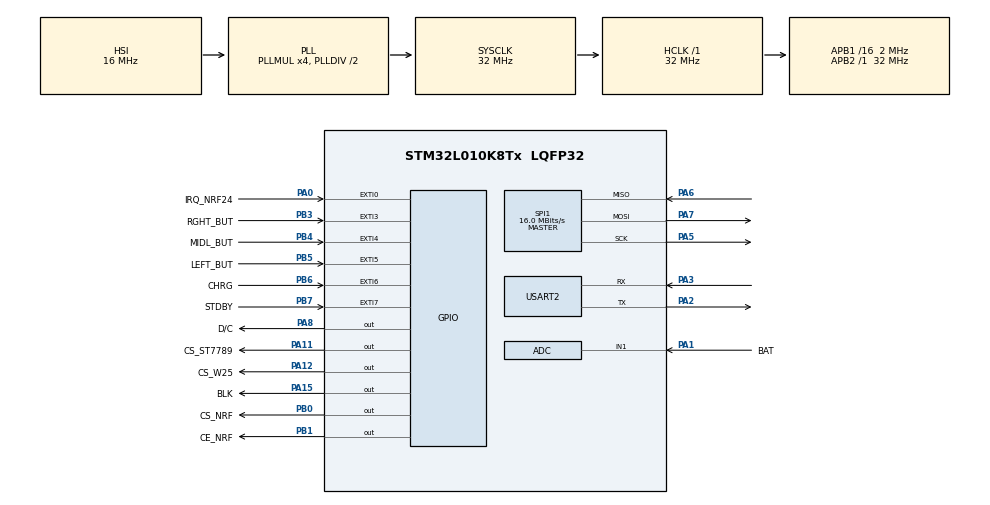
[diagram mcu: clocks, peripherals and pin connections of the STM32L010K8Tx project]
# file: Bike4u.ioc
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ADC.ContinuousConvMode=DISABLE
ADC.DMAContinuousRequests=ENABLE
ADC.EOCSelection=ADC_EOC_SINGLE_CONV
ADC.ExternalTrigConv=ADC_SOFTWARE_START
ADC.LowPowerAutoPowerOff=DISABLE
ADC.LowPowerAutoWait=DISABLE
ADC.OversamplingMode=ENABLE
ADC.Ratio=ADC_OVERSAMPLING_RATIO_16
ADC.RightBitShift=ADC_RIGHTBITSHIFT_4
ADC.SamplingTime=ADC_SAMPLETIME_160CYCLES_5
ADC.TriggeredMode=ADC_TRIGGEREDMODE_SINGLE_TRIGGER
Dma.ADC.1.Direction=DMA_PERIPH_TO_MEMORY
Dma.ADC.1.Instance=DMA1_Channel1
Dma.ADC.1.MemDataAlignment=DMA_MDATAALIGN_HALFWORD
Dma.ADC.1.MemInc=DMA_MINC_ENABLE
Dma.ADC.1.Mode=DMA_NORMAL
Dma.ADC.1.PeriphDataAlignment=DMA_PDATAALIGN_HALFWORD
Dma.ADC.1.PeriphInc=DMA_PINC_DISABLE
Dma.ADC.1.Priority=DMA_PRIORITY_MEDIUM
Dma.Request0=USART2_RX
Dma.Request1=ADC
Dma.USART2_RX.0.Direction=DMA_PERIPH_TO_MEMORY
Dma.USART2_RX.0.Instance=DMA1_Channel5
Dma.USART2_RX.0.MemDataAlignment=DMA_MDATAALIGN_BYTE
Dma.USART2_RX.0.MemInc=DMA_MINC_ENABLE
Dma.USART2_RX.0.Mode=DMA_CIRCULAR
Dma.USART2_RX.0.PeriphDataAlignment=DMA_PDATAALIGN_BYTE
Dma.USART2_RX.0.PeriphInc=DMA_PINC_DISABLE
Dma.USART2_RX.0.Priority=DMA_PRIORITY_LOW
Mcu.Family=STM32L0
Mcu.Name=STM32L010K8Tx
Mcu.Package=LQFP32
NVIC.ADC1_IRQn=true\:0\:0\:false\:false\:true\:true\:true\:true
NVIC.DMA1_Channel1_IRQn=true\:0\:0\:false\:false\:true\:false\:true\:true
NVIC.DMA1_Channel4_5_6_7_IRQn=true\:0\:0\:false\:false\:true\:false\:true\:true
NVIC.EXTI0_1_IRQn=true\:0\:0\:false\:false\:true\:true\:true\:true
NVIC.EXTI2_3_IRQn=true\:0\:0\:false\:false\:true\:true\:true\:true
NVIC.EXTI4_15_IRQn=true\:0\:0\:false\:false\:true\:true\:true\:true
NVIC.USART2_IRQn=true\:0\:0\:false\:false\:true\:true\:true\:true
PA0.GPIO_Label=IRQ_NRF24
PA0.GPIO_ModeDefaultEXTI=GPIO_MODE_IT_FALLING
PA0.Signal=GPXTI0
PA1.GPIO_Label=BAT
PA1.Mode=IN1
PA1.Signal=ADC_IN1
PA11.GPIO_Label=CS_ST7789
PA11.PinState=GPIO_PIN_SET
PA11.Signal=GPIO_Output
PA12.GPIO_Label=CS_W25
PA12.GPIO_PuPd=GPIO_NOPULL
PA12.PinState=GPIO_PIN_SET
PA12.Signal=GPIO_Output
PA13.Mode=Serial_Wire
PA13.Signal=SYS_SWDIO
PA14.Mode=Serial_Wire
PA14.Signal=SYS_SWCLK
PA15.GPIO_Label=BLK
PA15.GPIO_PuPd=GPIO_PULLDOWN
PA15.Signal=GPIO_Output
PA2.Mode=Asynchronous
PA2.Signal=USART2_TX
PA3.Mode=Asynchronous
PA3.Signal=USART2_RX
PA5.Mode=Full_Duplex_Master
PA5.Signal=SPI1_SCK
PA6.Mode=Full_Duplex_Master
PA6.Signal=SPI1_MISO
PA7.Mode=Full_Duplex_Master
PA7.Signal=SPI1_MOSI
PA8.GPIO_Label=D/C
PA8.Signal=GPIO_Output
PB0.GPIO_Label=CS_NRF
PB0.PinState=GPIO_PIN_SET
PB0.Signal=GPIO_Output
PB1.GPIO_Label=CE_NRF
PB1.PinState=GPIO_PIN_RESET
PB1.Signal=GPIO_Output
PB3.GPIO_Label=RGHT_BUT
PB3.GPIO_ModeDefaultEXTI=GPIO_MODE_IT_RISING_FALLING
PB3.GPIO_PuPd=GPIO_PULLUP
PB3.Signal=GPXTI3
PB4.GPIO_Label=MIDL_BUT
PB4.GPIO_ModeDefaultEXTI=GPIO_MODE_IT_RISING_FALLING
PB4.GPIO_PuPd=GPIO_PULLUP
PB4.Signal=GPXTI4
PB5.GPIO_Label=LEFT_BUT
PB5.GPIO_ModeDefaultEXTI=GPIO_MODE_IT_RISING_FALLING
PB5.GPIO_PuPd=GPIO_PULLUP
PB5.Signal=GPXTI5
PB6.GPIO_Label=CHRG
PB6.GPIO_ModeDefaultEXTI=GPIO_MODE_IT_RISING_FALLING
PB6.GPIO_PuPd=GPIO_NOPULL
PB6.Signal=GPXTI6
PB7.GPIO_Label=STDBY
PB7.GPIO_ModeDefaultEXTI=GPIO_MODE_IT_RISING_FALLING
PB7.GPIO_PuPd=GPIO_NOPULL
PB7.Signal=GPXTI7
PC14-OSC32_IN.Mode=LSE-External-Oscillator
PC14-OSC32_IN.Signal=RCC_OSC32_IN
PC15-OSC32_OUT.Mode=LSE-External-Oscillator
PC15-OSC32_OUT.Signal=RCC_OSC32_OUT
ProjectManager.HeapSize=0x200
ProjectManager.StackSize=0x400
ProjectManager.TargetToolchain=STM32CubeIDE
RCC.AHBFreq_Value=32000000
RCC.APB1CLKDivider=RCC_HCLK_DIV16
RCC.APB1Freq_Value=2000000
RCC.APB1TimFreq_Value=4000000
RCC.APB2Freq_Value=32000000
RCC.APB2TimFreq_Value=32000000
RCC.HCLKFreq_Value=32000000
RCC.HSI16_VALUE=16000000
RCC.HSI_VALUE=16000000
RCC.MSI_VALUE=2097000
RCC.PLLMUL=RCC_PLLMUL_4
RCC.RTCClockSelection=RCC_RTCCLKSOURCE_LSE
RCC.RTCClockSelectionVirtual=RCC_RTCCLKSOURCE_LSE
RCC.SYSCLKFreq_VALUE=32000000
RCC.SYSCLKSource=RCC_SYSCLKSOURCE_PLLCLK
RCC.TimPrescaler=SYSTICK_CLKSOURCE_HCLK_DIV8
RCC.Usart2ClockSelection=RCC_USART2CLKSOURCE_SYSCLK
RCC.VCOOutputFreq_Value=64000000
SPI1.CalculateBaudRate=16.0 MBits/s
SPI1.Direction=SPI_DIRECTION_2LINES
SPI1.Mode=SPI_MODE_MASTER
SPI1.VirtualType=VM_MASTER
TIM21.Channel-Output\ Compare2\ No\ Output=TIM_CHANNEL_2
TIM21.Period=999
TIM21.Prescaler=31999
TIM21.Pulse-Output\ Compare2\ No\ Output=499
TIM21.TIM_MasterOutputTrigger=TIM_TRGO_UPDATE
TIM21.TIM_MasterSlaveMode=TIM_MASTERSLAVEMODE_ENABLE
USART2.VirtualMode-Asynchronous=VM_ASYNC
VP_ADC_Vref_Input.Mode=IN-Vrefint
VP_RTC_VS_RTC_Activate.Mode=RTC_Enabled
VP_RTC_VS_RTC_Calendar.Mode=RTC_Calendar
VP_TIM21_VS_ClockSourceINT.Mode=Internal
VP_TIM21_VS_no_output2.Mode=Output Compare2 No Output
board=custom

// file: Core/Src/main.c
/* USER CODE BEGIN Header */
/**
  ******************************************************************************
  * @file           : main.c
  * @brief          : Main program body
  ******************************************************************************
  * @attention
  *
  * Copyright (c) 2026 STMicroelectronics.
  * All rights reserved.
  *
  * This software is licensed under terms that can be found in the LICENSE file
  * in the root directory of this software component.
  * If no LICENSE file comes with this software, it is provided AS-IS.
  *
  ******************************************************************************
  */
/* USER CODE END Header */
#include "main.h"

/* USER CODE BEGIN Includes */
#include "control.h"
#include "Schedule.h"

#include "NRF24.h"
#include "st7789v3.h"
#include "pb-03f.h"

/* USER CODE END Includes */

ADC_HandleTypeDef hadc;
DMA_HandleTypeDef hdma_adc;

RTC_HandleTypeDef hrtc;

SPI_HandleTypeDef hspi1;

TIM_HandleTypeDef htim21;

UART_HandleTypeDef huart2;
DMA_HandleTypeDef hdma_usart2_rx;

/* USER CODE BEGIN PV */

uint8_t r = 0, g = 50, b = 30;
uint8_t color[3] = {0,60,0};
uint16_t x, y;
uint8_t brgh = 39;

uint32_t states;	// 0 - Left But, 1 - Midl but, 2 - Right but

uint8_t slp = 0;

extern uint8_t buf_ble[100];
uint8_t ble = 0;
uint8_t buf_ble_t[20];

uint16_t adc[2] = {0};
uint8_t bat_percent;

uint16_t del_bat = 1000;

extern Task regular[];
/* USER CODE END PV */

void SystemClock_Config(void);
static void MX_GPIO_Init(void);
static void MX_DMA_Init(void);
static void MX_ADC_Init(void);
static void MX_RTC_Init(void);
static void MX_SPI1_Init(void);
static void MX_USART2_UART_Init(void);
static void MX_TIM21_Init(void);

int main(void)
{

  /* MCU Configuration--------------------------------------------------------*/

  /* Reset of all peripherals, Initializes the Flash interface and the Systick. */
  HAL_Init();

  /* Configure the system clock */
  SystemClock_Config();

  /* Initialize all configured peripherals */
  MX_GPIO_Init();
  MX_DMA_Init();
  MX_ADC_Init();
  MX_RTC_Init();
  MX_SPI1_Init();
  MX_USART2_UART_Init();
  MX_TIM21_Init();
  /* USER CODE BEGIN 2 */
  HAL_ADCEx_Calibration_Start(&hadc, ADC_SINGLE_ENDED);
  HAL_ADCEx_EnableVREFINT();

  HAL_ADC_Start_DMA(&hadc, (uint32_t*)adc, 2);

 // NRF24_ini();
  InitST7789V3(X_Y_Exchange_X_Mirror);
  //HAL_UART_Receive_DMA(&huart2, buf_ble, 50);
//  HAL_UARTEx_ReceiveToIdle_DMA(&huart2, buf_ble, 50);

  FillScreen(r, g, b);
  ST7789_DrawString(20, 100, "Bike4u", color, 5);

  Init_BLE();

  /* USER CODE END 2 */

  /* Infinite loop */
  /* USER CODE BEGIN WHILE */
  while (1)
  {
	  for (uint8_t i = 0; i < TASK_COUNT; i++)
	 	  Scheduler_RunTask(&regular[i]);

//	  TIM_SET_COMPARE_BRGH(TIM2, brgh);

	  static uint32_t timing;
	  if(uwTick - timing > 100){
		  timing = uwTick;

//		  if(states & MIDL_BUT){
//			  if(!slp){
//				ST7789_Sleep_In();
//				brgh = 0;
//				slp = 1;
//			  }
//			  else{
//				ST7789_Sleep_Out();
//				brgh = 39;
//				  slp = 0;
//			  }
//			  states &= ~MIDL_BUT;
//
//		  }

//		  if(states & LEFT_BUT){
//			  if(brgh < 11)
//				  brgh = 10;
//			  else
//			  brgh -= 10;
//		  }
//
//		  if(states & RGHT_BUT){
//			  if(brgh > 89)
//				  brgh = 99;
//			  else
//			  brgh += 10;
//		  }

	  }

//	  static uint32_t timing_bat;
//	  	  if(uwTick - timing_bat > del_bat){
//	  		  timing_bat = uwTick;
//	  		HAL_ADC_Start_DMA(&hadc, (uint32_t*)adc, 2);
//	  		  uint8_t buf[6];
//
//	  		  sprintf((char*)buf,"%3d%%",bat_percent);
//	  		ST7789_DrawString(200, 40, (char*)buf, color, 2);
//	  	  }

    /* USER CODE END WHILE */

  }
}

void SystemClock_Config(void)
{
  RCC_OscInitTypeDef RCC_OscInitStruct = {0};
  RCC_ClkInitTypeDef RCC_ClkInitStruct = {0};
  RCC_PeriphCLKInitTypeDef PeriphClkInit = {0};

  /** Configure the main internal regulator output voltage
  */
  __HAL_PWR_VOLTAGESCALING_CONFIG(PWR_REGULATOR_VOLTAGE_SCALE1);

  /** Configure LSE Drive Capability
  */
  HAL_PWR_EnableBkUpAccess();
  __HAL_RCC_LSEDRIVE_CONFIG(RCC_LSEDRIVE_LOW);

  /** Initializes the RCC Oscillators according to the specified parameters
  * in the RCC_OscInitTypeDef structure.
  */
  RCC_OscInitStruct.OscillatorType = RCC_OSCILLATORTYPE_HSI|RCC_OSCILLATORTYPE_LSE;
  RCC_OscInitStruct.LSEState = RCC_LSE_ON;
  RCC_OscInitStruct.HSIState = RCC_HSI_ON;
  RCC_OscInitStruct.HSICalibrationValue = RCC_HSICALIBRATION_DEFAULT;
  RCC_OscInitStruct.PLL.PLLState = RCC_PLL_ON;
  RCC_OscInitStruct.PLL.PLLSource = RCC_PLLSOURCE_HSI;
  RCC_OscInitStruct.PLL.PLLMUL = RCC_PLLMUL_4;
  RCC_OscInitStruct.PLL.PLLDIV = RCC_PLLDIV_2;
  if (HAL_RCC_OscConfig(&RCC_OscInitStruct) != HAL_OK)
  {
    Error_Handler();
  }

  /** Initializes the CPU, AHB and APB buses clocks
  */
  RCC_ClkInitStruct.ClockType = RCC_CLOCKTYPE_HCLK|RCC_CLOCKTYPE_SYSCLK
                              |RCC_CLOCKTYPE_PCLK1|RCC_CLOCKTYPE_PCLK2;
  RCC_ClkInitStruct.SYSCLKSource = RCC_SYSCLKSOURCE_PLLCLK;
  RCC_ClkInitStruct.AHBCLKDivider = RCC_SYSCLK_DIV1;
  RCC_ClkInitStruct.APB1CLKDivider = RCC_HCLK_DIV16;
  RCC_ClkInitStruct.APB2CLKDivider = RCC_HCLK_DIV1;

  if (HAL_RCC_ClockConfig(&RCC_ClkInitStruct, FLASH_LATENCY_1) != HAL_OK)
  {
    Error_Handler();
  }
  PeriphClkInit.PeriphClockSelection = RCC_PERIPHCLK_USART2|RCC_PERIPHCLK_RTC;
  PeriphClkInit.Usart2ClockSelection = RCC_USART2CLKSOURCE_SYSCLK;
  PeriphClkInit.RTCClockSelection = RCC_RTCCLKSOURCE_LSE;
  if (HAL_RCCEx_PeriphCLKConfig(&PeriphClkInit) != HAL_OK)
  {
    Error_Handler();
  }
}

static void MX_ADC_Init(void)
{

  ADC_ChannelConfTypeDef sConfig = {0};

  /** Configure the global features of the ADC (Clock, Resolution, Data Alignment and number of conversion)
  */
  hadc.Instance = ADC1;
  hadc.Init.OversamplingMode = ENABLE;
  hadc.Init.Oversample.Ratio = ADC_OVERSAMPLING_RATIO_16;
  hadc.Init.Oversample.RightBitShift = ADC_RIGHTBITSHIFT_4;
  hadc.Init.Oversample.TriggeredMode = ADC_TRIGGEREDMODE_SINGLE_TRIGGER;
  hadc.Init.ClockPrescaler = ADC_CLOCK_SYNC_PCLK_DIV2;
  hadc.Init.Resolution = ADC_RESOLUTION_12B;
  hadc.Init.SamplingTime = ADC_SAMPLETIME_160CYCLES_5;
  hadc.Init.ScanConvMode = ADC_SCAN_DIRECTION_FORWARD;
  hadc.Init.DataAlign = ADC_DATAALIGN_RIGHT;
  hadc.Init.ContinuousConvMode = DISABLE;
  hadc.Init.DiscontinuousConvMode = DISABLE;
  hadc.Init.ExternalTrigConvEdge = ADC_EXTERNALTRIGCONVEDGE_NONE;
  hadc.Init.ExternalTrigConv = ADC_SOFTWARE_START;
  hadc.Init.DMAContinuousRequests = ENABLE;
  hadc.Init.EOCSelection = ADC_EOC_SINGLE_CONV;
  hadc.Init.Overrun = ADC_OVR_DATA_PRESERVED;
  hadc.Init.LowPowerAutoWait = DISABLE;
  hadc.Init.LowPowerFrequencyMode = DISABLE;
  hadc.Init.LowPowerAutoPowerOff = DISABLE;
  if (HAL_ADC_Init(&hadc) != HAL_OK)
  {
    Error_Handler();
  }

  /** Configure for the selected ADC regular channel to be converted.
  */
  sConfig.Channel = ADC_CHANNEL_1;
  sConfig.Rank = ADC_RANK_CHANNEL_NUMBER;
  if (HAL_ADC_ConfigChannel(&hadc, &sConfig) != HAL_OK)
  {
    Error_Handler();
  }

  /** Configure for the selected ADC regular channel to be converted.
  */
  sConfig.Channel = ADC_CHANNEL_VREFINT;
  if (HAL_ADC_ConfigChannel(&hadc, &sConfig) != HAL_OK)
  {
    Error_Handler();
  }

}

static void MX_RTC_Init(void)
{

  RTC_TimeTypeDef sTime = {0};
  RTC_DateTypeDef sDate = {0};

  /** Initialize RTC Only
  */
  hrtc.Instance = RTC;
  hrtc.Init.HourFormat = RTC_HOURFORMAT_24;
  hrtc.Init.AsynchPrediv = 127;
  hrtc.Init.SynchPrediv = 255;
  hrtc.Init.OutPut = RTC_OUTPUT_DISABLE;
  hrtc.Init.OutPutRemap = RTC_OUTPUT_REMAP_NONE;
  hrtc.Init.OutPutPolarity = RTC_OUTPUT_POLARITY_HIGH;
  hrtc.Init.OutPutType = RTC_OUTPUT_TYPE_OPENDRAIN;
  if (HAL_RTC_Init(&hrtc) != HAL_OK)
  {
    Error_Handler();
  }

  /** Initialize RTC and set the Time and Date
  */
  sTime.Hours = 0x0;
  sTime.Minutes = 0x0;
  sTime.Seconds = 0x0;
  sTime.DayLightSaving = RTC_DAYLIGHTSAVING_NONE;
  sTime.StoreOperation = RTC_STOREOPERATION_RESET;
  if (HAL_RTC_SetTime(&hrtc, &sTime, RTC_FORMAT_BCD) != HAL_OK)
  {
    Error_Handler();
  }
  sDate.WeekDay = RTC_WEEKDAY_MONDAY;
  sDate.Month = RTC_MONTH_JANUARY;
  sDate.Date = 0x1;
  sDate.Year = 0x0;

  if (HAL_RTC_SetDate(&hrtc, &sDate, RTC_FORMAT_BCD) != HAL_OK)
  {
    Error_Handler();
  }

}

static void MX_SPI1_Init(void)
{

  /* SPI1 parameter configuration*/
  hspi1.Instance = SPI1;
  hspi1.Init.Mode = SPI_MODE_MASTER;
  hspi1.Init.Direction = SPI_DIRECTION_2LINES;
  hspi1.Init.DataSize = SPI_DATASIZE_8BIT;
  hspi1.Init.CLKPolarity = SPI_POLARITY_LOW;
  hspi1.Init.CLKPhase = SPI_PHASE_1EDGE;
  hspi1.Init.NSS = SPI_NSS_SOFT;
  hspi1.Init.BaudRatePrescaler = SPI_BAUDRATEPRESCALER_2;
  hspi1.Init.FirstBit = SPI_FIRSTBIT_MSB;
  hspi1.Init.TIMode = SPI_TIMODE_DISABLE;
  hspi1.Init.CRCCalculation = SPI_CRCCALCULATION_DISABLE;
  hspi1.Init.CRCPolynomial = 7;
  if (HAL_SPI_Init(&hspi1) != HAL_OK)
  {
    Error_Handler();
  }

}

static void MX_TIM21_Init(void)
{

  TIM_ClockConfigTypeDef sClockSourceConfig = {0};
  TIM_MasterConfigTypeDef sMasterConfig = {0};
  TIM_OC_InitTypeDef sConfigOC = {0};

  htim21.Instance = TIM21;
  htim21.Init.Prescaler = 31999;
  htim21.Init.CounterMode = TIM_COUNTERMODE_UP;
  htim21.Init.Period = 999;
  htim21.Init.ClockDivision = TIM_CLOCKDIVISION_DIV1;
  htim21.Init.AutoReloadPreload = TIM_AUTORELOAD_PRELOAD_DISABLE;
  if (HAL_TIM_Base_Init(&htim21) != HAL_OK)
  {
    Error_Handler();
  }
  sClockSourceConfig.ClockSource = TIM_CLOCKSOURCE_INTERNAL;
  if (HAL_TIM_ConfigClockSource(&htim21, &sClockSourceConfig) != HAL_OK)
  {
    Error_Handler();
  }
  if (HAL_TIM_OC_Init(&htim21) != HAL_OK)
  {
    Error_Handler();
  }
  sMasterConfig.MasterOutputTrigger = TIM_TRGO_UPDATE;
  sMasterConfig.MasterSlaveMode = TIM_MASTERSLAVEMODE_ENABLE;
  if (HAL_TIMEx_MasterConfigSynchronization(&htim21, &sMasterConfig) != HAL_OK)
  {
    Error_Handler();
  }
  sConfigOC.OCMode = TIM_OCMODE_TIMING;
  sConfigOC.Pulse = 499;
  sConfigOC.OCPolarity = TIM_OCPOLARITY_HIGH;
  sConfigOC.OCFastMode = TIM_OCFAST_DISABLE;
  if (HAL_TIM_OC_ConfigChannel(&htim21, &sConfigOC, TIM_CHANNEL_2) != HAL_OK)
  {
    Error_Handler();
  }

}

static void MX_USART2_UART_Init(void)
{

  huart2.Instance = USART2;
  huart2.Init.BaudRate = 115200;
  huart2.Init.WordLength = UART_WORDLENGTH_8B;
  huart2.Init.StopBits = UART_STOPBITS_1;
  huart2.Init.Parity = UART_PARITY_NONE;
  huart2.Init.Mode = UART_MODE_TX_RX;
  huart2.Init.HwFlowCtl = UART_HWCONTROL_NONE;
  huart2.Init.OverSampling = UART_OVERSAMPLING_16;
  huart2.Init.OneBitSampling = UART_ONE_BIT_SAMPLE_DISABLE;
  huart2.AdvancedInit.AdvFeatureInit = UART_ADVFEATURE_NO_INIT;
  if (HAL_UART_Init(&huart2) != HAL_OK)
  {
    Error_Handler();
  }

}

static void MX_DMA_Init(void)
{

  /* DMA controller clock enable */
  __HAL_RCC_DMA1_CLK_ENABLE();

  /* DMA interrupt init */
  /* DMA1_Channel1_IRQn interrupt configuration */
  HAL_NVIC_SetPriority(DMA1_Channel1_IRQn, 0, 0);
  HAL_NVIC_EnableIRQ(DMA1_Channel1_IRQn);
  /* DMA1_Channel4_5_6_7_IRQn interrupt configuration */
  HAL_NVIC_SetPriority(DMA1_Channel4_5_6_7_IRQn, 0, 0);
  HAL_NVIC_EnableIRQ(DMA1_Channel4_5_6_7_IRQn);

}

static void MX_GPIO_Init(void)
{
  GPIO_InitTypeDef GPIO_InitStruct = {0};

  /* GPIO Ports Clock Enable */
  __HAL_RCC_GPIOC_CLK_ENABLE();
  __HAL_RCC_GPIOA_CLK_ENABLE();
  __HAL_RCC_GPIOB_CLK_ENABLE();

  /*Configure GPIO pin Output Level */
  HAL_GPIO_WritePin(CS_NRF_GPIO_Port, CS_NRF_Pin, GPIO_PIN_SET);

  /*Configure GPIO pin Output Level */
  HAL_GPIO_WritePin(CE_NRF_GPIO_Port, CE_NRF_Pin, GPIO_PIN_RESET);

  /*Configure GPIO pin Output Level */
  HAL_GPIO_WritePin(GPIOA, D_C_Pin|BLK_Pin, GPIO_PIN_RESET);

  /*Configure GPIO pin Output Level */
  HAL_GPIO_WritePin(GPIOA, CS_ST7789_Pin|CS_W25_Pin, GPIO_PIN_SET);

  /*Configure GPIO pin : IRQ_NRF24_Pin */
  GPIO_InitStruct.Pin = IRQ_NRF24_Pin;
  GPIO_InitStruct.Mode = GPIO_MODE_IT_FALLING;
  GPIO_InitStruct.Pull = GPIO_NOPULL;
  HAL_GPIO_Init(IRQ_NRF24_GPIO_Port, &GPIO_InitStruct);

  /*Configure GPIO pins : CS_NRF_Pin CE_NRF_Pin */
  GPIO_InitStruct.Pin = CS_NRF_Pin|CE_NRF_Pin;
  GPIO_InitStruct.Mode = GPIO_MODE_OUTPUT_PP;
  GPIO_InitStruct.Pull = GPIO_NOPULL;
  GPIO_InitStruct.Speed = GPIO_SPEED_FREQ_LOW;
  HAL_GPIO_Init(GPIOB, &GPIO_InitStruct);

  /*Configure GPIO pins : D_C_Pin CS_ST7789_Pin CS_W25_Pin */
  GPIO_InitStruct.Pin = D_C_Pin|CS_ST7789_Pin|CS_W25_Pin;
  GPIO_InitStruct.Mode = GPIO_MODE_OUTPUT_PP;
  GPIO_InitStruct.Pull = GPIO_NOPULL;
  GPIO_InitStruct.Speed = GPIO_SPEED_FREQ_LOW;
  HAL_GPIO_Init(GPIOA, &GPIO_InitStruct);

  /*Configure GPIO pin : BLK_Pin */
  GPIO_InitStruct.Pin = BLK_Pin;
  GPIO_InitStruct.Mode = GPIO_MODE_OUTPUT_PP;
  GPIO_InitStruct.Pull = GPIO_PULLDOWN;
  GPIO_InitStruct.Speed = GPIO_SPEED_FREQ_LOW;
  HAL_GPIO_Init(BLK_GPIO_Port, &GPIO_InitStruct);

  /*Configure GPIO pins : RGHT_BUT_Pin MIDL_BUT_Pin LEFT_BUT_Pin */
  GPIO_InitStruct.Pin = RGHT_BUT_Pin|MIDL_BUT_Pin|LEFT_BUT_Pin;
  GPIO_InitStruct.Mode = GPIO_MODE_IT_RISING_FALLING;
  GPIO_InitStruct.Pull = GPIO_PULLUP;
  HAL_GPIO_Init(GPIOB, &GPIO_InitStruct);

  /*Configure GPIO pins : CHRG_Pin STDBY_Pin */
  GPIO_InitStruct.Pin = CHRG_Pin|STDBY_Pin;
  GPIO_InitStruct.Mode = GPIO_MODE_IT_RISING_FALLING;
  GPIO_InitStruct.Pull = GPIO_NOPULL;
  HAL_GPIO_Init(GPIOB, &GPIO_InitStruct);

  /* EXTI interrupt init*/
  HAL_NVIC_SetPriority(EXTI0_1_IRQn, 0, 0);
  HAL_NVIC_EnableIRQ(EXTI0_1_IRQn);

  HAL_NVIC_SetPriority(EXTI2_3_IRQn, 0, 0);
  HAL_NVIC_EnableIRQ(EXTI2_3_IRQn);

  HAL_NVIC_SetPriority(EXTI4_15_IRQn, 0, 0);
  HAL_NVIC_EnableIRQ(EXTI4_15_IRQn);

  /* USER CODE BEGIN MX_GPIO_Init_2 */
  GPIO_InitStruct.Pin = GPIO_PIN_1;
  GPIO_InitStruct.Mode = GPIO_MODE_ANALOG;
  GPIO_InitStruct.Pull = GPIO_NOPULL;
  HAL_GPIO_Init(GPIOA, &GPIO_InitStruct);
  /* USER CODE END MX_GPIO_Init_2 */
}

/* USER CODE BEGIN 4 */

void HAL_UARTEx_RxEventCallback(UART_HandleTypeDef *huart, uint16_t Size){

	if(huart->Instance == USART2){

		buf_ble[Size] = '\0';

		if(strstr((char*)buf_ble, "OK")){

		}

		HAL_UARTEx_ReceiveToIdle_DMA(huart, buf_ble, 60);
	}

}

void Battery_Measeru(void){
	HAL_ADC_Start_DMA(&hadc, (uint32_t*) adc, 2);
	uint8_t buf[6];

	sprintf((char*) buf, "%3d%%", bat_percent);
	ST7789_DrawString(200, 40, (char*) buf, color, 2);
}

void Set_Brightness(void){
	if (states & LEFT_BUT) {
		if (brgh < 11)
			brgh = 10;
		else
			brgh -= 10;
//		TIM_SET_COMPARE_BRGH(TIM2, brgh);
		regular[3].enable = 1;
	}

	if (states & RGHT_BUT) {
		if (brgh > 89)
			brgh = 99;
		else
			brgh += 10;
//		TIM_SET_COMPARE_BRGH(TIM2, brgh);
		regular[3].enable = 1;
	}
}
void Sleep(void){

	 if(states & MIDL_BUT){
				  if(!slp){
					ST7789_Sleep_In();
					brgh = 0;
					slp = 1;
				  }
				  else{
					ST7789_Sleep_Out();
					brgh = 39;
					  slp = 0;
				  }
				  states &= ~MIDL_BUT;
				  regular[3].enable = 1;
			  }

}

void DIMMER_TIM(void){
	TIM_SET_COMPARE_BRGH(TIM2, brgh);
	regular[3].enable = 0;

}
/* USER CODE END 4 */

void Error_Handler(void)
{
  __disable_irq();
  while (1)
  {
  }
}
